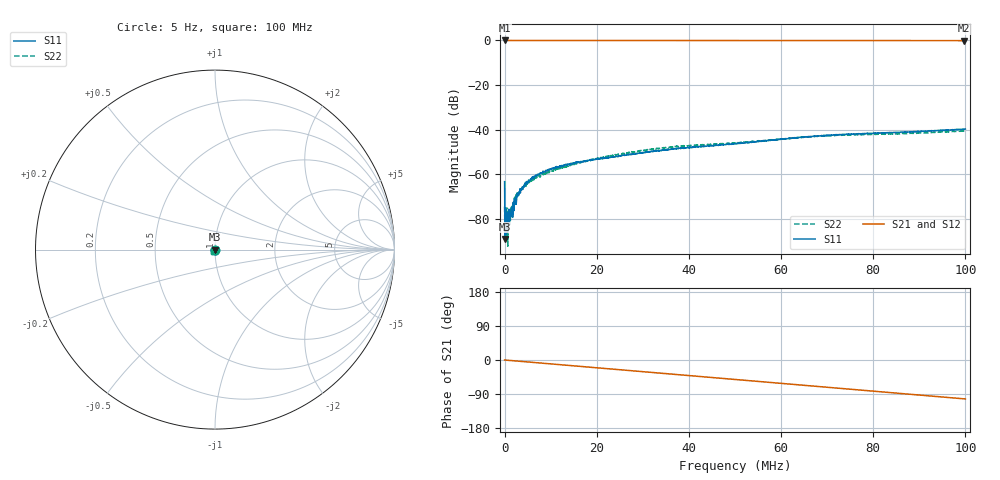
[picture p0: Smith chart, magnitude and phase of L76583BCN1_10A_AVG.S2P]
!Agilent Technologies,E5061B,MY49102235,A.02.00
!Date: Mon Jul 10 16:12:11 2023
!Data & Calibration Information:
!Freq	S11:SOLT2(ON)	S21:SOLT2(ON)	S12:SOLT2(ON)	S22:SOLT2(ON)
# Hz S RI R 50
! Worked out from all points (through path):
!   1600 points, 5 Hz to 100 MHz, reference 50 ohm
!   highest |S21| = 0.02 dB at 5 Hz (marker M1); lowest = -0.1 dB at 99.62 MHz (marker M2)
!   group delay of S21, straight-line fit = 2.85 ns
!   lowest |S11| = -89.2 dB at 125.1 kHz (marker M3), VSWR 1.00, Z = 50 - j0.000133 ohm
!   |S11| at or under -10 dB: start of sweep to end of sweep
!   |S22| runs from -92.4 to -40.5 dB; largest |S21 - S12| = 0.0027
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5  -0.0005 0.000452  1.002 0.00236  1.001 -4.31e-05  -0.000174 -6.22e-05
125083.2  -3.46e-05 -1.33e-06  1 -0.00237  1 -0.0022  -3.98e-05 -8.16e-06
562856.8  0.000135 3.06e-05  0.9996 -0.0102  0.9996 -0.00981  8.74e-05 -2.75e-05
813013.1  -4.62e-05 -5.99e-05  1 -0.0148  0.9992 -0.0143  -5.66e-05 -9.33e-05
1063169  -4.94e-05 -5.31e-05  1 -0.019  1 -0.0192  -1.29e-05 -0.000123
1563482  -7.34e-05 -0.000165  0.9992 -0.0282  0.9995 -0.028  -5.55e-05 -0.000178
1938717  -1.32e-05 -0.0002  0.9991 -0.035  0.9997 -0.0347  8.5e-06 -0.000206
2063795  -2.49e-05 -0.000149  0.9992 -0.0368  0.9996 -0.0368  3.41e-05 -0.000227
2751725  6.02e-05 -0.000365  0.9989 -0.0489  0.9982 -0.0491  -1.44e-05 -0.000309
3252037  7.28e-05 -0.000391  0.9982 -0.0583  0.9982 -0.0581  1.54e-05 -0.000382
4315202  6.9e-05 -0.000579  0.9969 -0.0773  0.9968 -0.077  -6.15e-05 -0.000554
6128835  4.67e-05 -0.000779  0.9939 -0.1097  0.9939 -0.1097  -3.28e-05 -0.000724
9943719  9.96e-07 -0.00129  0.9839 -0.1772  0.984 -0.1772  -7.56e-05 -0.00113
1.282052e7  -1.45e-05 -0.00157  0.9735 -0.2277  0.9736 -0.2278  -2.35e-05 -0.00142
1.669794e7  -9.53e-05 -0.00188  0.9553 -0.2946  0.9553 -0.2946  -6.59e-05 -0.00186
2.445279e7  -0.000373 -0.00244  0.9053 -0.4241  0.905 -0.4242  -0.000323 -0.00273
3.333334e7  -0.000785 -0.00322  0.8261 -0.5621  0.8261 -0.562  -0.000674 -0.00372
5.003127e7  -0.00128 -0.00464  0.6229 -0.7799  0.6229 -0.7799  -0.00198 -0.00462
6.672921e7  -0.00326 -0.00623  0.3644 -0.9277  0.3643 -0.9274  -0.00358 -0.00592
8.33646e7  -0.00406 -0.00748  0.0751 -0.9921  0.0753 -0.9918  -0.0042 -0.00669
9.962477e7  -0.00657 -0.00771  -0.2133 -0.9695  -0.2133 -0.9697  -0.00617 -0.0069
1e8  -0.00666 -0.00777  -0.2198 -0.9682  -0.2198 -0.9682  -0.00634 -0.00695
